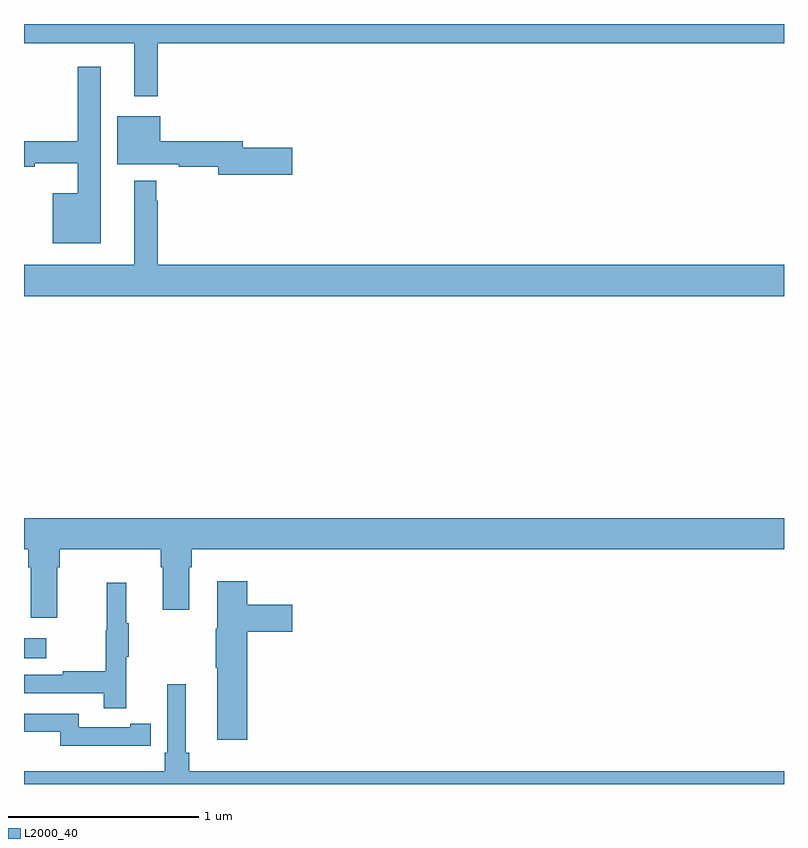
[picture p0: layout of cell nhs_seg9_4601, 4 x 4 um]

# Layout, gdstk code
import gdstk
lib = gdstk.Library(unit=1e-6, precision=1e-09)
def R(c, l, rs):  # rectangles x0, y0, x1, y1
    for r in rs: c.add(gdstk.rectangle(r[:2], r[2:], *l))
def P(c, l, *ps):  # polygons
    for p in ps: c.add(gdstk.Polygon(p, *l))
L2000_40 = (2000, 40)

nhs_seg9_4601 = lib.new_cell('nhs_seg9_4601')
R(nhs_seg9_4601, L2000_40, [(375,1213.163,375.118,1213.267)])
P(nhs_seg9_4601, L2000_40, [(375.703,1216.4),(379,1216.4),(379,1216.5),(375,1216.5),(375,1216.4),(375.581,1216.4),(375.581,1216.119),(375.703,1216.119)],
  [(375.403,1216.276),(375.282,1216.276),(375.282,1215.884),(375,1215.884),(375,1215.748),(375.056,1215.748),(375.056,1215.767),(375.282,1215.767),(375.282,1215.61),(375.152,1215.61),(375.152,1215.347),(375.403,1215.347)],
  [(376.411,1215.848),(376.15,1215.848),(376.15,1215.884),(375.718,1215.884),(375.718,1216.015),(375.491,1216.015),(375.491,1215.761),(375.814,1215.761),(375.814,1215.748),(376.022,1215.748),(376.022,1215.706),(376.411,1215.706)],
  [(379,1215.232),(375.703,1215.232),(375.703,1215.569),(375.696,1215.569),(375.696,1215.676),(375.581,1215.676),(375.581,1215.232),(375,1215.232),(375,1215.068),(379,1215.068)],
  [(375,1213.736),(375.023,1213.736),(375.023,1213.64),(375.035,1213.64),(375.035,1213.374),(375.175,1213.374),(375.175,1213.64),(375.188,1213.64),(375.188,1213.736),(375.719,1213.736),(375.719,1213.64),(375.731,1213.64),(375.731,1213.416),(375.871,1213.416),(375.871,1213.64),(375.884,1213.64),(375.884,1213.736),(379,1213.736),(379,1213.9),(375,1213.9)],
  [(376.175,1213.301),(376.411,1213.301),(376.411,1213.443),(376.175,1213.443),(376.175,1213.567),(376.016,1213.567),(376.016,1213.317),(376.009,1213.317),(376.009,1213.111),(376.016,1213.111),(376.016,1212.732),(376.175,1212.732)],
  [(375.539,1213.171),(375.55,1213.171),(375.55,1213.345),(375.539,1213.345),(375.539,1213.558),(375.436,1213.558),(375.436,1213.308),(375.429,1213.308),(375.429,1213.094),(375.205,1213.094),(375.205,1213.074),(375,1213.074),(375,1212.978),(375.421,1212.978),(375.421,1212.9),(375.539,1212.9)],
  [(379,1212.568),(375.869,1212.568),(375.869,1212.664),(375.85,1212.664),(375.85,1213.024),(375.753,1213.024),(375.753,1212.664),(375.74,1212.664),(375.74,1212.568),(375,1212.568),(375,1212.5),(379,1212.5)],
  [(375.56,1212.702),(375.668,1212.702),(375.668,1212.818),(375.56,1212.818),(375.56,1212.798),(375.288,1212.798),(375.288,1212.87),(375,1212.87),(375,1212.774),(375.192,1212.774),(375.192,1212.701),(375.56,1212.701)])

lib.write_gds('nhs_seg9_4601.gds')
